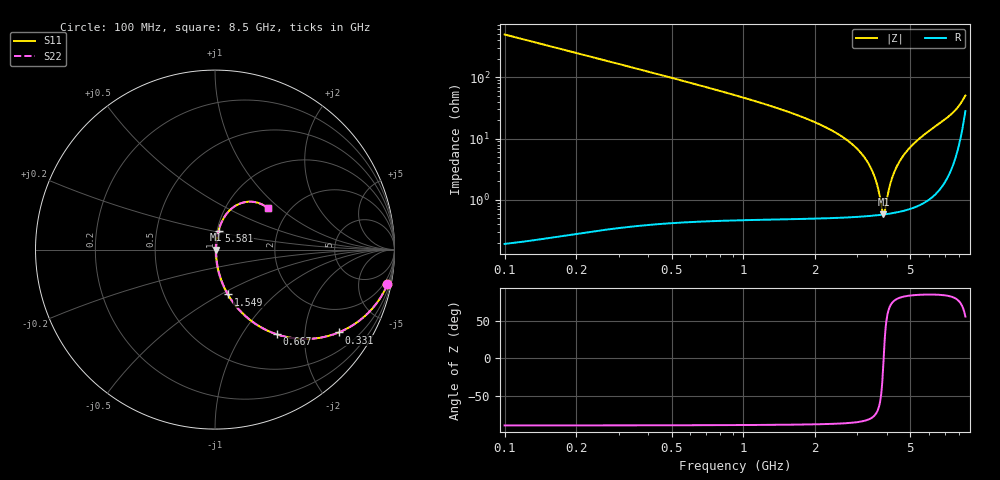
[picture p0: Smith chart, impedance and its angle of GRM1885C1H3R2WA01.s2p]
!Murata Part Number: GRM1885C1H3R2WA01
!These Parameters are Measured in Series Mode Connection
!Data Generated on Mar 30, 2021
!  o--ll--o
!Port1  Port2
!  o------o
!Operation Temp=25[degC], DC Bias Voltage=0[V]
!Freq. Start=100[MHz] Stop=9[GHz] 401[Steps]
# Hz S RI R 50
!Freq.(Hz) S11(Real) S11(Imag) S21(Real) S21(Imag) S12(Real) S12(Imag) S22(Real) S22(Imag)
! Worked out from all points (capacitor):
!   401 points, 100 MHz to 8.5 GHz, reference 50 ohm
!   read as one part in series: C = 3.2 pF near 142 MHz
!   lowest |Z| = 580 mohm at 3.859 GHz (marker M1)
!   series resonance near 3.865 GHz, so ESL is about 530 pH
!   S11 on the Smith chart (normalised r, x): 100 MHz: 1.00, -9.94; 331 MHz: 1.01, -2.98; 667 MHz: 1.01, -1.45; 1.549 GHz: 1.01, -0.54; 5.581 GHz: 1.02, +0.21; 8.5 GHz: 1.56, +0.84
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1e8  0.961 -0.1934  0.039 0.1934  0.039 0.1934  0.961 -0.1934
2.05e8  0.8536 -0.3529  0.1464 0.3529  0.1464 0.3529  0.8536 -0.3529
3.31e8  0.6891 -0.4616  0.3109 0.4616  0.3109 0.4616  0.6891 -0.4616
6.67e8  0.3443 -0.4721  0.6557 0.4721  0.6557 0.4721  0.3443 -0.4721
1.024e9  0.1722 -0.3724  0.8278 0.3724  0.8278 0.3724  0.1722 -0.3724
1.507e9  0.0769 -0.258  0.9231 0.258  0.9231 0.258  0.0769 -0.258
1.549e9  0.0721 -0.2498  0.9279 0.2498  0.9279 0.2498  0.0721 -0.2498
2.914e9  0.0107 -0.0739  0.9893 0.0739  0.9893 0.0739  0.0107 -0.0739
3.229e9  0.0076 -0.047  0.9924 0.047  0.9924 0.047  0.0076 -0.047
3.481e9  0.00626 -0.0275  0.9937 0.0275  0.9937 0.0275  0.00626 -0.0275
3.628e9  0.00587 -0.0166  0.9941 0.0166  0.9941 0.0166  0.00587 -0.0166
3.817e9  0.00573 -0.0033  0.9943 0.0033  0.9943 0.0033  0.00573 -0.0033
3.859e9  0.00575 -0.000416  0.9942 0.000416  0.9942 0.000416  0.00575 -0.000416
3.922e9  0.00582 0.00387  0.9942 -0.00387  0.9942 -0.00387  0.00582 0.00387
4.111e9  0.00623 0.0164  0.9938 -0.0164  0.9938 -0.0164  0.00623 0.0164
4.3e9  0.00696 0.0285  0.993 -0.0285  0.993 -0.0285  0.00696 0.0285
4.804e9  0.0103 0.0593  0.9897 -0.0593  0.9897 -0.0593  0.0103 0.0593
5.581e9  0.0196 0.1043  0.9804 -0.1043  0.9804 -0.1043  0.0196 0.1043
5.707e9  0.0216 0.1116  0.9784 -0.1116  0.9784 -0.1116  0.0216 0.1116
7.114e9  0.0637 0.1984  0.9363 -0.1984  0.9363 -0.1984  0.0637 0.1984
7.912e9  0.1395 0.2567  0.8605 -0.2567  0.8605 -0.2567  0.1395 0.2567
8.5e9  0.2942 0.2304  0.7058 -0.2304  0.7058 -0.2304  0.2942 0.2304
